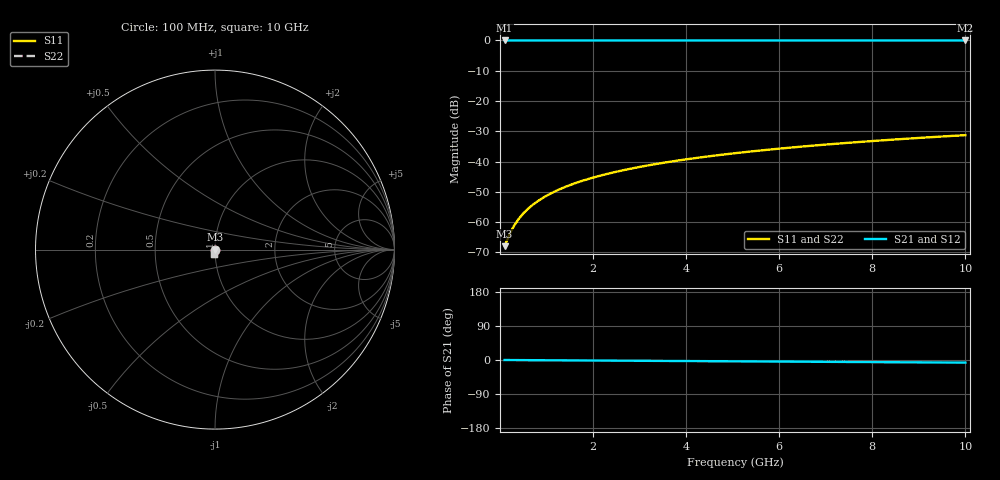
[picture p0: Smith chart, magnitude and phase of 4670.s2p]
# Hz S RI R 50.00
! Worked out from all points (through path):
!   100 points, 100 MHz to 10 GHz, reference 50 ohm
!   highest |S21| = 0.00 dB at 100 MHz (marker M1); lowest = 0.0 dB at 10 GHz (marker M2)
!   lowest |S11| = -67.9 dB at 100 MHz (marker M3), VSWR 1.00, Z = 50 - j0.0271 ohm
!   |S11| at or under -10 dB: start of sweep to end of sweep
!   |S22| runs from -67.9 to -31.3 dB; largest |S21 - S12| = 0
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1e8  0.000295 -0.000271  0.9997 -0.0012  0.9997 -0.0012  0.000295 -0.000271
2e8  0.000296 -0.000543  0.9997 -0.0024  0.9997 -0.0024  0.000296 -0.000543
3e8  0.000295 -0.000814  0.9997 -0.0036  0.9997 -0.0036  0.000295 -0.000814
4e8  0.000293 -0.00109  0.9997 -0.0048  0.9997 -0.0048  0.000293 -0.00109
5e8  0.00029 -0.00136  0.9997 -0.00601  0.9997 -0.00601  0.00029 -0.00136
6e8  0.000287 -0.00163  0.9997 -0.00721  0.9997 -0.00721  0.000287 -0.00163
7e8  0.000283 -0.0019  0.9997 -0.00841  0.9997 -0.00841  0.000283 -0.0019
9e8  0.000273 -0.00244  0.9996 -0.0108  0.9996 -0.0108  0.000273 -0.00244
1e9  0.000266 -0.00271  0.9996 -0.012  0.9996 -0.012  0.000266 -0.00271
1.2e9  0.000252 -0.00326  0.9996 -0.0144  0.9996 -0.0144  0.000252 -0.00326
1.5e9  0.000225 -0.00407  0.9995 -0.018  0.9995 -0.018  0.000225 -0.00407
1.8e9  0.000192 -0.00489  0.9994 -0.0216  0.9994 -0.0216  0.000192 -0.00489
2.1e9  0.000153 -0.0057  0.9993 -0.0252  0.9993 -0.0252  0.000153 -0.0057
2.5e9  9.22e-05 -0.00679  0.9992 -0.03  0.9992 -0.03  9.22e-05 -0.00679
2.9e9  2.04e-05 -0.00788  0.999 -0.0349  0.999 -0.0349  2.04e-05 -0.00788
3.4e9  -8.42e-05 -0.00924  0.9988 -0.0409  0.9988 -0.0409  -8.42e-05 -0.00924
4.2e9  -0.000286 -0.0114  0.9983 -0.0505  0.9983 -0.0505  -0.000286 -0.0114
5.1e9  -0.000564 -0.0139  0.9977 -0.0614  0.9977 -0.0614  -0.000564 -0.0139
5.9e9  -0.000856 -0.016  0.997 -0.071  0.997 -0.071  -0.000856 -0.016
6.7e9  -0.00119 -0.0182  0.9962 -0.0807  0.9962 -0.0807  -0.00119 -0.0182
8.4e9  -0.00204 -0.0228  0.9942 -0.1012  0.9942 -0.1012  -0.00204 -0.0228
1e10  -0.00302 -0.0271  0.9919 -0.1205  0.9919 -0.1205  -0.00302 -0.0271
